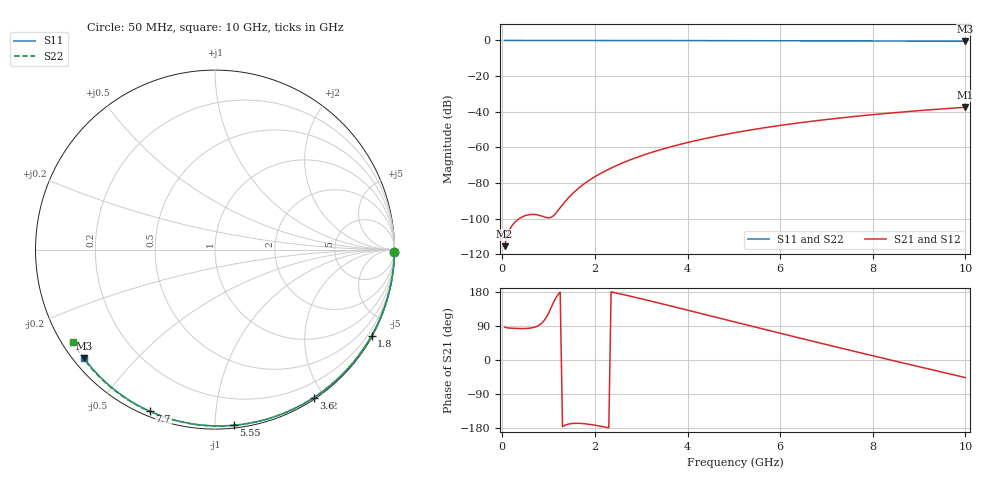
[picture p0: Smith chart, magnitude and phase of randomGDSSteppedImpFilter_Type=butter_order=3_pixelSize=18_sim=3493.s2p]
! freq	dB(S11)	phase(S11)	dB(S12)	phase(S12)
!  dB(S21)	phase(S21)	dB(S22)	phase(S22)
!S-par simulation data
#  GHz  S  DB  R 50
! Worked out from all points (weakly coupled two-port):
!   200 points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, 50 MHz to 10 GHz, reference 50 ohm
!   highest |S21| = -37.49 dB at 10 GHz (marker M1); lowest = -115.5 dB at 50 MHz (marker M2)
!   lowest |S11| = -0.5 dB at 10 GHz (marker M3), VSWR 36.79, Z = 1.54 - j18 ohm
!   |S11| at or under -10 dB: nowhere
!   |S22| runs from -0.5 to 0.0 dB; largest |S21 - S12| = 0
!   S11 on the Smith chart (normalised r, x): 50 MHz: open; 1.8 GHz: 0.03, -3.89; 3.6 GHz: 0.02, -1.87; 5.55 GHz: 0.02, -1.11; 7.7 GHz: 0.02, -0.68; 10 GHz: 0.03, -0.36
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0.05  -0.00 -0.8  -115.45 86.9  -115.45 86.9  -0.00 -0.9
0.45  -0.01 -7.3  -98.78 83.0  -98.78 83.0  -0.01 -7.7
0.9  -0.02 -14.5  -98.97 103.5  -98.97 103.5  -0.02 -15.3
1.3  -0.03 -20.9  -92.20 -176.0  -92.20 -176.0  -0.03 -22.0
1.75  -0.04 -28.0  -80.80 -167.9  -80.80 -167.9  -0.04 -29.5
1.8  -0.04 -28.8  -79.85 -168.6  -79.85 -168.6  -0.04 -30.3
1.95  -0.04 -31.2  -77.25 -171.0  -77.25 -171.0  -0.04 -32.8
2.1  -0.04 -33.5  -74.95 -174.2  -74.95 -174.2  -0.04 -35.2
2.3  -0.05 -36.6  -72.22 -179.0  -72.22 -179.0  -0.05 -38.5
2.5  -0.05 -39.7  -69.80 175.8  -69.80 175.8  -0.05 -41.7
2.9  -0.06 -45.8  -65.66 164.5  -65.66 164.5  -0.06 -48.1
3.4  -0.07 -53.3  -61.42 149.7  -61.42 149.7  -0.07 -55.9
3.6  -0.08 -56.2  -59.94 143.7  -59.94 143.7  -0.08 -59.0
4.3  -0.09 -66.4  -55.49 122.4  -55.49 122.4  -0.10 -69.7
5.05  -0.12 -77.0  -51.63 99.5  -51.63 99.5  -0.12 -80.7
5.55  -0.14 -83.9  -49.45 84.2  -49.45 84.2  -0.14 -87.9
6.1  -0.16 -91.3  -47.33 67.6  -47.33 67.6  -0.17 -95.6
6.7  -0.19 -99.1  -45.29 49.6  -45.29 49.6  -0.20 -103.8
7.7  -0.26 -111.9  -42.41 19.9  -42.41 19.9  -0.27 -117.1
8.35  -0.31 -120.0  -40.81 1.0  -40.81 1.0  -0.32 -125.6
9.2  -0.38 -130.5  -38.98 -23.5  -38.98 -23.5  -0.40 -136.6
10  -0.47 -140.3  -37.49 -46.4  -37.49 -46.4  -0.49 -146.9
